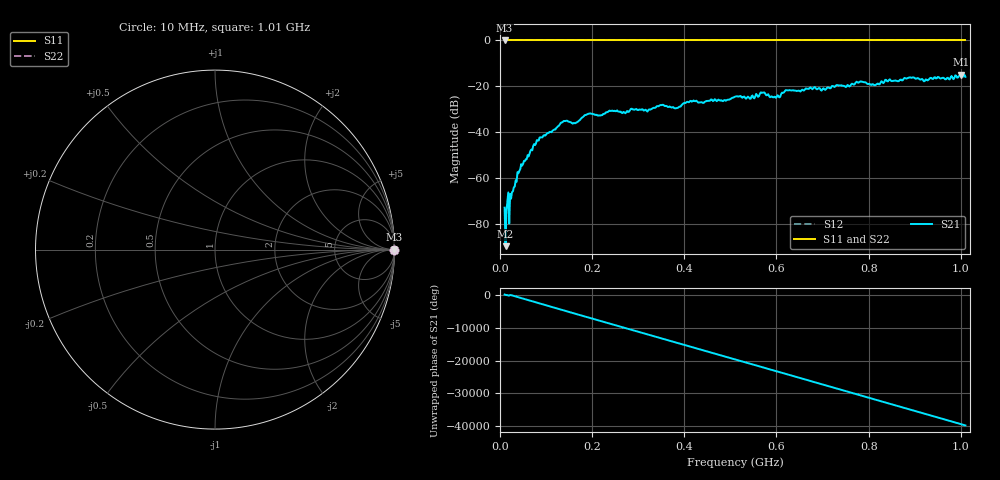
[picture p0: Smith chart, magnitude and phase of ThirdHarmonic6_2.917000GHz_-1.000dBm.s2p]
! 8/17/2025 8:06:30 AM
! C:\ANRITSUVNA\TEMP\TEMP.S2P
! CHANNEL.1
! TR.MEASUREMENT
! RAW.DATA
! RF.CORRECTION.OFF
! AVERAGING.OFF
! IF.BANDWIDTH: 5KHZ
! SWEEPTYPE:  FREQ.SWEEP(Linear)
! Reference Plane Port Info
! PORT:  PORT1  PORT2
! DISTANCE:  0  m  0  m
! TIME:  0  s  0  s
! PHASE.OFFSET:  0  deg.  0  deg.
! LOSS:  0  dB  0  dB
! REF.LOSS:  0  dB  0  dB
! REF.FREQ:  0  Hz  0  Hz
! Power Info
! POWER:  -20  dBm  -20  dBm
! EFF.POWER:  -20  dBm  -20  dBm
! SOURCE.ATTEN:  0  dB  0  dB
! TEST.ATTEN:  0  dB  0  dB
# GHZ S RI R 50.0
! FREQ.GHZ  S11RE  S11IM  S21RE  S21IM  S12RE  S12IM  S22RE  S22IM
!; PortSelection: Port_12
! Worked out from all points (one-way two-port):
!   501 points, 10 MHz to 1.01 GHz, reference 50 ohm
!   highest |S21| = -14.88 dB at 1 GHz (marker M1); lowest = -89.5 dB at 12 MHz (marker M2)
!   lowest |S11| = 0.0 dB at 10 MHz (marker M3)
!   |S11| at or under -10 dB: nowhere
!   |S22| runs from 0.0 to 0.0 dB; largest |S21 - S12| = 1.2
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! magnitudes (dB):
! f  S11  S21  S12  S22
! 10 MHz  0.0  -72.7  0.0  0.0
! 12 MHz  0.0  -89.5  0.0  0.0
! 16 MHz  0.0  -70.2  0.0  0.0
! 18 MHz  0.0  -66.1  0.0  0.0
! 24 MHz  0.0  -68.9  0.0  0.0
! 26 MHz  0.0  -66.0  0.0  0.0
! 42 MHz  0.0  -56.8  0.0  0.0
! 84 MHz  0.0  -43.5  0.0  0.0
! 136 MHz  0.0  -35.5  0.0  0.0
! 162 MHz  0.0  -36.0  0.0  0.0
! 178 MHz  0.0  -33.6  0.0  0.0
! 344 MHz  0.0  -28.6  0.0  0.0
! 382 MHz  0.0  -29.5  0.0  0.0
! 416 MHz  0.0  -26.6  0.0  0.0
! 510 MHz  0.0  -24.5  0.0  0.0
! 570 MHz  0.0  -22.7  0.0  0.0
! 596 MHz  0.0  -24.5  0.0  0.0
! 624 MHz  0.0  -21.7  0.0  0.0
! 678 MHz  0.0  -21.2  0.0  0.0
! 844 MHz  0.0  -17.2  0.0  0.0
! 1 GHz  0.0  -14.9  0.0  0.0
! 1.01 GHz  0.0  -15.8  0.0  0.0
